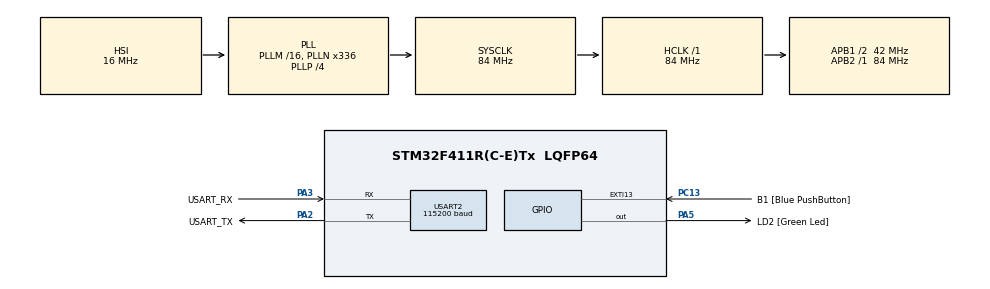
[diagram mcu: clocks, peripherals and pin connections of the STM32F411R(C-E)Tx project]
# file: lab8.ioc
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Mcu.Family=STM32F4
Mcu.Name=STM32F411R(C-E)Tx
Mcu.Package=LQFP64
NVIC.PriorityGroup=NVIC_PRIORITYGROUP_0
NVIC.USART2_IRQn=true\:0\:0\:false\:false\:true\:true\:true
PA13.GPIO_Label=TMS
PA13.Mode=Serial_Wire
PA13.Signal=SYS_JTMS-SWDIO
PA14.GPIO_Label=TCK
PA14.Mode=Serial_Wire
PA14.Signal=SYS_JTCK-SWCLK
PA2.GPIO_Label=USART_TX
PA2.Mode=Asynchronous
PA2.Signal=USART2_TX
PA3.GPIO_Label=USART_RX
PA3.Mode=Asynchronous
PA3.Signal=USART2_RX
PA5.GPIO_Label=LD2 [Green Led]
PA5.Signal=GPIO_Output
PB3.GPIO_Label=SWO
PB3.Signal=SYS_JTDO-SWO
PC13-ANTI_TAMP.GPIO_Label=B1 [Blue PushButton]
PC13-ANTI_TAMP.GPIO_ModeDefaultEXTI=GPIO_MODE_IT_FALLING
PC13-ANTI_TAMP.Signal=GPXTI13
PC14-OSC32_IN.Mode=LSE-External-Oscillator
PC14-OSC32_IN.Signal=RCC_OSC32_IN
PC15-OSC32_OUT.Mode=LSE-External-Oscillator
PC15-OSC32_OUT.Signal=RCC_OSC32_OUT
PH0\ -\ OSC_IN.Mode=HSE-External-Clock-Source
PH0\ -\ OSC_IN.Signal=RCC_OSC_IN
PH1\ -\ OSC_OUT.Mode=HSE-External-Clock-Source
PH1\ -\ OSC_OUT.Signal=RCC_OSC_OUT
ProjectManager.HeapSize=0x200
ProjectManager.StackSize=0x400
ProjectManager.TargetToolchain=STM32CubeIDE
RCC.48MHZClocksFreq_Value=84000000
RCC.AHBFreq_Value=84000000
RCC.APB1CLKDivider=RCC_HCLK_DIV2
RCC.APB1Freq_Value=42000000
RCC.APB1TimFreq_Value=84000000
RCC.APB2Freq_Value=84000000
RCC.APB2TimFreq_Value=84000000
RCC.CortexFreq_Value=84000000
RCC.FLatency-AdvancedSettings=FLASH_LATENCY_2
RCC.HCLKFreq_Value=84000000
RCC.HSE_VALUE=8000000
RCC.HSI_VALUE=16000000
RCC.PLLN=336
RCC.PLLP=RCC_PLLP_DIV4
RCC.SYSCLKFreq_VALUE=84000000
RCC.SYSCLKSource=RCC_SYSCLKSOURCE_PLLCLK
RCC.VCOOutputFreq_Value=336000000
USART2.BaudRate=115200
USART2.VirtualMode=VM_ASYNC
board=NUCLEO-F411RE

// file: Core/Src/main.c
/* USER CODE BEGIN Header */
/**
 ******************************************************************************
 * @file           : main.c
 * @brief          : Main program body
 ******************************************************************************
 * @attention
 *
 * <h2><center>&copy; Copyright (c) 2021 STMicroelectronics.
 * All rights reserved.</center></h2>
 *
 * This software component is licensed by ST under BSD 3-Clause license,
 * the "License"; You may not use this file except in compliance with the
 * License. You may obtain a copy of the License at:
 *                        opensource.org/licenses/BSD-3-Clause
 *
 ******************************************************************************
 */
/* USER CODE END Header */
#include "main.h"

/* USER CODE BEGIN Includes */
#include <stdio.h>
#include <string.h>
/* USER CODE END Includes */

UART_HandleTypeDef huart2;

/* USER CODE BEGIN PV */
char TxDataBuffer[32] = { 0 };
char RxDataBuffer[32] = { 0 };
int16_t state = 0;
int16_t Hz = 1;
int8_t led = 1;
uint16_t timestamp = 0;
uint16_t timestamp1 = 0;
int16_t inputchar = 0;
int32_t period = 0;
int statusput = 0;
int statusbutton[2] = {0};
/* USER CODE END PV */

void SystemClock_Config(void);
static void MX_GPIO_Init(void);
static void MX_USART2_UART_Init(void);

/* USER CODE BEGIN PFP */
void UARTRecieveAndResponsePolling();
int16_t UARTRecieveIT();
/* USER CODE END PFP */

int main(void) {

	/* MCU Configuration--------------------------------------------------------*/

	/* Reset of all peripherals, Initializes the Flash interface and the Systick. */
	HAL_Init();

	/* Configure the system clock */
	SystemClock_Config();

	/* Initialize all configured peripherals */
	MX_GPIO_Init();
	MX_USART2_UART_Init();
	/* USER CODE BEGIN 2 */
//  {
//  char temp[]="HELLO WORLD\r\n please type something to test UART\r\n";
//  HAL_UART_Transmit(&huart2, (uint8_t*)temp, strlen(temp),10);
//  }
	/* USER CODE END 2 */

	/* Infinite loop */
	/* USER CODE BEGIN WHILE */
	while (1) {

		/*Method 2 W/ 1 Char Received*/
		HAL_UART_Receive_IT(&huart2, (uint8_t*) RxDataBuffer, 1);
		if (HAL_GetTick() - timestamp >= 100) {
			if (state == 0) {
				sprintf(TxDataBuffer,
						" 0 : LED Control \n\r 1 : button Status \n\r");
				HAL_UART_Transmit(&huart2, (uint8_t*) TxDataBuffer,
						strlen(TxDataBuffer), 1000);
				state = 1;
			}
			if (inputchar != -1) {
				if (state == 1) {
					if (inputchar == '0') {
						sprintf(TxDataBuffer,
								" a : Speed up + 1Hz \n\r s : Speed Down -1Hz \n\r d : On\off \n\r x : back \n\r");
						HAL_UART_Transmit(&huart2, (uint8_t*) TxDataBuffer,
								strlen(TxDataBuffer), 1000);
						state = 2;
					} else if (inputchar == '1') {
						sprintf(TxDataBuffer,
								"x : back \n\r [if button press / unpress] show button status \n\r");
						HAL_UART_Transmit(&huart2, (uint8_t*) TxDataBuffer,
								strlen(TxDataBuffer), 1000);
							statusput = 1;
						state = 3;
					} else {
						sprintf(TxDataBuffer, " put wrong");
						HAL_UART_Transmit(&huart2, (uint8_t*) TxDataBuffer,
								strlen(TxDataBuffer), 1000);
						state = 0;
					}
				} else if (state == 2) {
					if (inputchar == 'a') {
						Hz = Hz + 1;
						sprintf(TxDataBuffer, "Hz:[%d]\r\n", Hz);
						HAL_UART_Transmit(&huart2, (uint8_t*) TxDataBuffer,
								strlen(TxDataBuffer), 1000);
					} else if (inputchar == 's') {
						Hz = Hz - 1;
						if (Hz <= 0) {
							Hz = 0;
							sprintf(TxDataBuffer, "Hz : 0 \r\n");
							HAL_UART_Transmit(&huart2, (uint8_t*) TxDataBuffer,
									strlen(TxDataBuffer), 1000);
						}
						sprintf(TxDataBuffer, "Hz :[%d]\r\n", Hz);
						HAL_UART_Transmit(&huart2, (uint8_t*) TxDataBuffer,
								strlen(TxDataBuffer), 1000);
					} else if (inputchar == 'd') {
						if (led == 0) {
							led = 1;
						} else if (led == 1) {
							led = 0;
						}
					} else if (inputchar == 'x') {
						sprintf(TxDataBuffer, "back ");
						HAL_UART_Transmit(&huart2, (uint8_t*) TxDataBuffer,
								strlen(TxDataBuffer), 1000);
						state = 0;
					} else {
						sprintf(TxDataBuffer, " put wrong");
						HAL_UART_Transmit(&huart2, (uint8_t*) TxDataBuffer,
								strlen(TxDataBuffer), 1000);
						state = 0;
					}
				} else if (state == 3) {
					if (inputchar == 'x') {
						sprintf(TxDataBuffer, "back ");
						HAL_UART_Transmit(&huart2, (uint8_t*) TxDataBuffer,
								strlen(TxDataBuffer), 1000);
						state = 0;
						statusput = 0;
					}
				}
			}
			timestamp = HAL_GetTick();
			inputchar = -1;
		}
		if (led == 1 && Hz != 0) {
			period = 1000 / Hz;
			if (HAL_GetTick() - timestamp1 >= period) {
				HAL_GPIO_TogglePin(LD2_GPIO_Port, LD2_Pin);
				timestamp1 = HAL_GetTick();
			}
		} else {
			HAL_GPIO_WritePin(LD2_GPIO_Port, LD2_Pin, 0);
		}
		if(statusput == 1 ){
		statusbutton[0] = 	HAL_GPIO_ReadPin(GPIOC, GPIO_PIN_13);

		if(statusbutton[0] != statusbutton[1]){
			if(statusbutton[0] == 0){
				sprintf(TxDataBuffer, " press");
				HAL_UART_Transmit(&huart2, (uint8_t*) TxDataBuffer,strlen(TxDataBuffer), 1000);
			}
			else{
				sprintf(TxDataBuffer, " unpress");
				HAL_UART_Transmit(&huart2, (uint8_t*) TxDataBuffer,strlen(TxDataBuffer), 1000);
			}
		}
		statusbutton[1]=statusbutton[0];

		}
		/* USER CODE END WHILE */

	}
}

void SystemClock_Config(void) {
	RCC_OscInitTypeDef RCC_OscInitStruct = { 0 };
	RCC_ClkInitTypeDef RCC_ClkInitStruct = { 0 };

	/** Configure the main internal regulator output voltage
	 */
	__HAL_RCC_PWR_CLK_ENABLE();
	__HAL_PWR_VOLTAGESCALING_CONFIG(PWR_REGULATOR_VOLTAGE_SCALE1);
	/** Initializes the RCC Oscillators according to the specified parameters
	 * in the RCC_OscInitTypeDef structure.
	 */
	RCC_OscInitStruct.OscillatorType = RCC_OSCILLATORTYPE_HSI;
	RCC_OscInitStruct.HSIState = RCC_HSI_ON;
	RCC_OscInitStruct.HSICalibrationValue = RCC_HSICALIBRATION_DEFAULT;
	RCC_OscInitStruct.PLL.PLLState = RCC_PLL_ON;
	RCC_OscInitStruct.PLL.PLLSource = RCC_PLLSOURCE_HSI;
	RCC_OscInitStruct.PLL.PLLM = 16;
	RCC_OscInitStruct.PLL.PLLN = 336;
	RCC_OscInitStruct.PLL.PLLP = RCC_PLLP_DIV4;
	RCC_OscInitStruct.PLL.PLLQ = 4;
	if (HAL_RCC_OscConfig(&RCC_OscInitStruct) != HAL_OK) {
		Error_Handler();
	}
	/** Initializes the CPU, AHB and APB buses clocks
	 */
	RCC_ClkInitStruct.ClockType = RCC_CLOCKTYPE_HCLK | RCC_CLOCKTYPE_SYSCLK
			| RCC_CLOCKTYPE_PCLK1 | RCC_CLOCKTYPE_PCLK2;
	RCC_ClkInitStruct.SYSCLKSource = RCC_SYSCLKSOURCE_PLLCLK;
	RCC_ClkInitStruct.AHBCLKDivider = RCC_SYSCLK_DIV1;
	RCC_ClkInitStruct.APB1CLKDivider = RCC_HCLK_DIV2;
	RCC_ClkInitStruct.APB2CLKDivider = RCC_HCLK_DIV1;

	if (HAL_RCC_ClockConfig(&RCC_ClkInitStruct, FLASH_LATENCY_2) != HAL_OK) {
		Error_Handler();
	}
}

static void MX_USART2_UART_Init(void) {

	huart2.Instance = USART2;
	huart2.Init.BaudRate = 115200;
	huart2.Init.WordLength = UART_WORDLENGTH_8B;
	huart2.Init.StopBits = UART_STOPBITS_1;
	huart2.Init.Parity = UART_PARITY_NONE;
	huart2.Init.Mode = UART_MODE_TX_RX;
	huart2.Init.HwFlowCtl = UART_HWCONTROL_NONE;
	huart2.Init.OverSampling = UART_OVERSAMPLING_16;
	if (HAL_UART_Init(&huart2) != HAL_OK) {
		Error_Handler();
	}

}

static void MX_GPIO_Init(void) {
	GPIO_InitTypeDef GPIO_InitStruct = { 0 };

	/* GPIO Ports Clock Enable */
	__HAL_RCC_GPIOC_CLK_ENABLE();
	__HAL_RCC_GPIOH_CLK_ENABLE();
	__HAL_RCC_GPIOA_CLK_ENABLE();
	__HAL_RCC_GPIOB_CLK_ENABLE();

	/*Configure GPIO pin Output Level */
	HAL_GPIO_WritePin(LD2_GPIO_Port, LD2_Pin, GPIO_PIN_RESET);

	/*Configure GPIO pin : B1_Pin */
	GPIO_InitStruct.Pin = B1_Pin;
	GPIO_InitStruct.Mode = GPIO_MODE_IT_FALLING;
	GPIO_InitStruct.Pull = GPIO_NOPULL;
	HAL_GPIO_Init(B1_GPIO_Port, &GPIO_InitStruct);

	/*Configure GPIO pin : LD2_Pin */
	GPIO_InitStruct.Pin = LD2_Pin;
	GPIO_InitStruct.Mode = GPIO_MODE_OUTPUT_PP;
	GPIO_InitStruct.Pull = GPIO_NOPULL;
	GPIO_InitStruct.Speed = GPIO_SPEED_FREQ_LOW;
	HAL_GPIO_Init(LD2_GPIO_Port, &GPIO_InitStruct);

}

/* USER CODE BEGIN 4 */
void UARTRecieveAndResponsePolling() {
	char Recieve[32] = { 0 };

	HAL_UART_Receive(&huart2, (uint8_t*) Recieve, 32, 1000);

	sprintf(TxDataBuffer, "Received:[%s]\r\n", Recieve);
	HAL_UART_Transmit(&huart2, (uint8_t*) TxDataBuffer, strlen(TxDataBuffer),
			1000);

}

int16_t UARTRecieveIT() {
	static uint32_t dataPos = 0;
	int16_t data = -1;
	if (huart2.RxXferSize - huart2.RxXferCount != dataPos) {
		data = RxDataBuffer[dataPos];
		dataPos = (dataPos + 1) % huart2.RxXferSize;
	}
	return data;
}

void HAL_UART_RxCpltCallback(UART_HandleTypeDef *huart) {
	inputchar = *RxDataBuffer;
	sprintf(TxDataBuffer, "Received:[%c]\r\n", inputchar);
	HAL_UART_Transmit(&huart2, (uint8_t*) TxDataBuffer, strlen(TxDataBuffer),
			1000);
}

/* USER CODE END 4 */

void Error_Handler(void) {
	__disable_irq();
	while (1) {
	}
}

/************************ (C) COPYRIGHT STMicroelectronics *****END OF FILE****/
